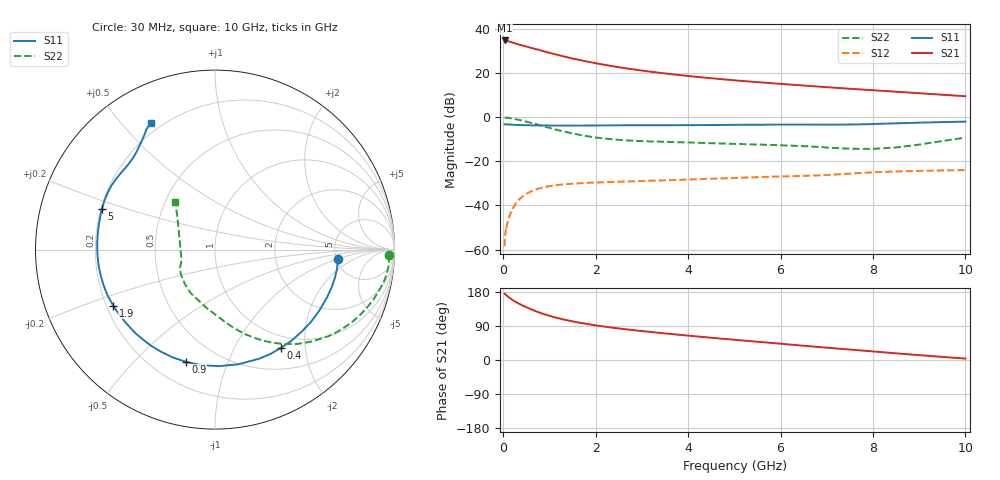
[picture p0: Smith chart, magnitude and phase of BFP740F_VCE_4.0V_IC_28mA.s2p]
! Infineon Technologies  Discrete & RF Semiconductors
! BFP740F
! VCE =  4.0 V,  IC =  28 mA
! Common Emitter S-Parameters:  Oct 2012
# GHz  S  MA  R  50
!  f  S11  S21  S12  S22
! GHz  MAG  ANG  MAG  ANG  MAG  ANG  MAG  ANG
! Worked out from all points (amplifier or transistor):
!   99 points, 30 MHz to 10 GHz, reference 50 ohm
!   highest |S21| = 34.7 dB at 30 MHz (marker M1)
!   |S21| within 3 dB of that: start of sweep to 543.7 MHz
!   unconditionally stable (mu >= 1): 5.453 GHz to end of sweep
!   at 350 MHz: K = 0.21, MSG = 35.0 dB, |S12| = -37.1 dB
!   at 3.5 GHz: K = 0.76, MSG = 24.2 dB, |S12| = -28.6 dB
!   at 10 GHz: K = 1.17, MAG = 14.3 dB, |S12| = -24.0 dB
!   S11 on the Smith chart (normalised r, x): 30 MHz: 5.18, -1.06; 400 MHz: 0.81, -1.56; 900 MHz: 0.33, -0.72; 1.9 GHz: 0.23, -0.24; 5 GHz: 0.20, +0.17; 10 GHz: 0.16, +0.60
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0.03  0.6875 -4.5  54.43 175.2  0.0012 52.7  0.9692 -1.9
0.07  0.6862 -10.8  53.67 170.9  0.003 80.9  0.9704 -5.9
0.12  0.6822 -18.4  51.85 165.6  0.005 74.4  0.9579 -10.7
0.15  0.6787 -22.9  50.67 162.7  0.0063 75.7  0.9459 -13.2
0.2  0.6736 -30.0  48.74 158.5  0.0084 74.1  0.9268 -17.2
0.3  0.6652 -43.5  45.31 151.3  0.0124 68.0  0.8842 -24.7
0.4  0.6594 -56.2  42.37 144.9  0.0153 63.7  0.8381 -31.4
0.6  0.6522 -78.4  37.14 133.9  0.0208 55.3  0.7446 -43.4
0.7  0.6498 -88.0  34.78 129.0  0.0229 51.1  0.6985 -48.8
0.9  0.646 -104.6  30.53 120.3  0.0261 45.1  0.6109 -58.2
1.1  0.6435 -117.9  26.87 113.1  0.0283 40.2  0.536 -66.2
1.3  0.6422 -128.7  23.81 107.1  0.0299 36.5  0.4748 -73.2
1.5  0.6422 -137.6  21.27 101.9  0.0311 33.9  0.4264 -79.3
1.7  0.6436 -145.0  19.18 97.4  0.032 32.2  0.3881 -84.9
1.9  0.6467 -151.2  17.43 93.4  0.0328 30.5  0.3583 -90.4
2.5  0.6522 -165.5  13.51 83.2  0.0345 27.9  0.3064 -104.6
3.4  0.6561 -180.0  10.04 71.3  0.0369 27.4  0.2783 -118.5
5  0.6692 160.4  6.827 53.5  0.042 28.0  0.248 -134.7
5.1  0.6706 159.4  6.691 52.4  0.0422 27.9  0.2463 -135.9
6.7  0.6762 142.4  5.015 35.6  0.0476 28.3  0.215 -154.0
8.5  0.7245 124.8  3.761 17.6  0.0589 25.1  0.2061 163.7
10  0.7919 116.9  2.974 3.7  0.0632 19.6  0.3439 130.0
